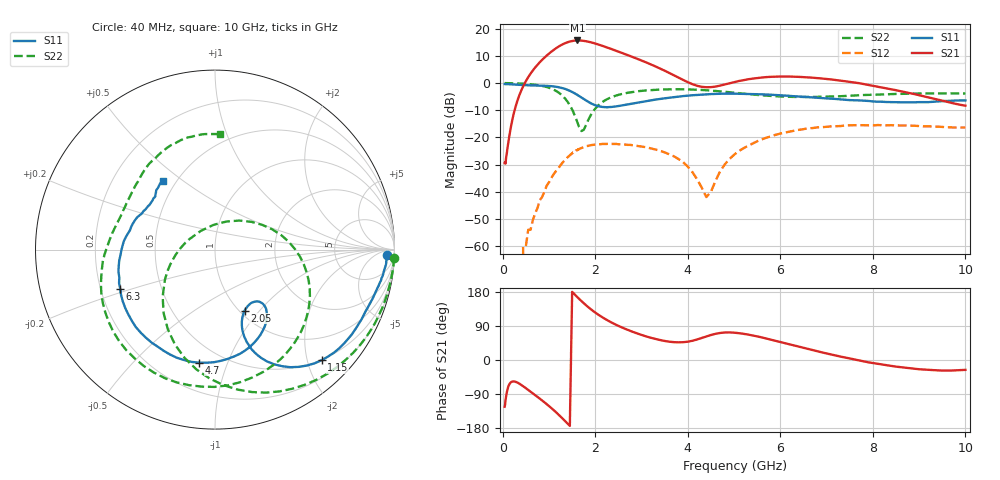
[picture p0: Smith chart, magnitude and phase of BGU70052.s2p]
!	Filename:	P:\Prog\Test\Noise\ATS_data\Testdata_Net\Pin-45dBm\BGU7005_A3_Emitter	Ind_Version	A25_Pin-45dBm_2.85V_D.s2p
!	Date/Time:	Fri	29-May-09	15:53:06
!	BGU7005_A3_Emitter	Ind_Version	A25_Pin-45dBm_2.85V
!	bias	mode	4:00	Vout=	2.85	"V,"	Iout=	5.58	"mA,"	Vin=-0.0001	"V,"	Iin=-0.0000	mA
!	Date/time	Mon	May	18	16:38:00	2009
!	Device	data	file	deembeded	for	feedlines	and	parallel
!	Original	file:	\Pin-45dBm\BGU7005_A3_Emitter	Ind_Version	A25_Pin-45dBm_2.85V_R.s2p
!	Feed-files:	"PR031V01_SOT886_180509_Feed1.s2p,"	PR031V01_SOT886_180509_Feed2.s2p
!	Parallel-file:	PR031V01_SOT886_180509_Par.s2p
#	MHz	S	MA	R	50
!	Freq-MHz	S11-mag	S11-arg	S21-mag	S21-arg	S12-mag	S12-arg	S22-mag	S22-arg
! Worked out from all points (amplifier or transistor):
!   174 points, 40 MHz to 10 GHz, reference 50 ohm
!   highest |S21| = 15.7 dB at 1.615 GHz (marker M1)
!   |S21| within 3 dB of that: 1.14 GHz to 2.323 GHz (1.183 GHz wide, 68.3 % of centre)
!   lowest NFmin = 0.77 dB at 400 MHz
!   S11 on the Smith chart (normalised r, x): 40 MHz: 31, -24; 1.15 GHz: 0.49, -2.26; 2.05 GHz: 1.05, -0.84; 4.7 GHz: 0.38, -0.80; 6.3 GHz: 0.28, -0.18; 10 GHz: 0.43, +0.42
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40  0.96 -1.8  0.034 -123.3  0 102.7  0.999 -2.6
420  0.922 -16.1  0.799 -67.5  0 -82.6  0.977 -27.4
440  0.921 -16.7  0.868 -69.0  0.001 -87.2  0.975 -28.8
650  0.905 -23.9  1.704 -88.0  0.003 -118.4  0.943 -44.2
900  0.893 -33.8  2.935 -111.5  0.01 -141.7  0.868 -65.5
1150  0.856 -46.1  4.364 -137.7  0.024 -166.1  0.718 -92.5
1400  0.75 -60.0  5.634 -167.6  0.043 165.6  0.455 -129.0
1615  0.604 -69.3  6.079 165.6  0.059 140.3  0.188 176.0
1700  0.543 -71.1  6.046 155.5  0.064 130.8  0.131 127.2
1850  0.451 -70.6  5.769 139.3  0.07 115.4  0.211 50.1
2050  0.378 -64.2  5.176 120.8  0.075 98.2  0.378 12.3
2300  0.361 -54.4  4.376 102.2  0.076 80.9  0.527 -14.1
2600  0.391 -49.0  3.521 84.6  0.074 64.2  0.637 -37.1
2950  0.443 -49.7  2.705 68.2  0.069 48.0  0.712 -59.3
3400  0.511 -57.2  1.854 52.7  0.057 30.0  0.76 -84.7
4400  0.62 -86.7  0.838 62.3  0.008 62.5  0.738 -136.4
4700  0.636 -97.9  0.899 71.4  0.024 126.4  0.704 -150.3
5100  0.636 -113.2  1.088 70.9  0.056 120.2  0.651 -166.7
6300  0.572 -157.3  1.309 38.0  0.133 82.4  0.556 159.1
6700  0.544 -170.4  1.256 25.9  0.149 70.0  0.557 150.4
8400  0.446 148.8  0.77 -15.7  0.168 33.3  0.627 115.1
10000  0.479 127.2  0.384 -26.1  0.153 16.1  0.643 87.7
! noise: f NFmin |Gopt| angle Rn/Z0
400  0.772  0.54  14.52  0.446
650  0.799  0.476  20.7  0.315
950  0.831  0.412  29.27  0.216
1250  0.863  0.362  37.85  0.168
1500  0.89  0.331  44.99  0.156
1650  0.906  0.317  49.28  0.157
1750  0.916  0.309  52.14  0.16
2050  0.948  0.296  60.71  0.176
2350  0.981  0.296  69.29  0.188
3000  1.05  0.345  87.86  0.136
